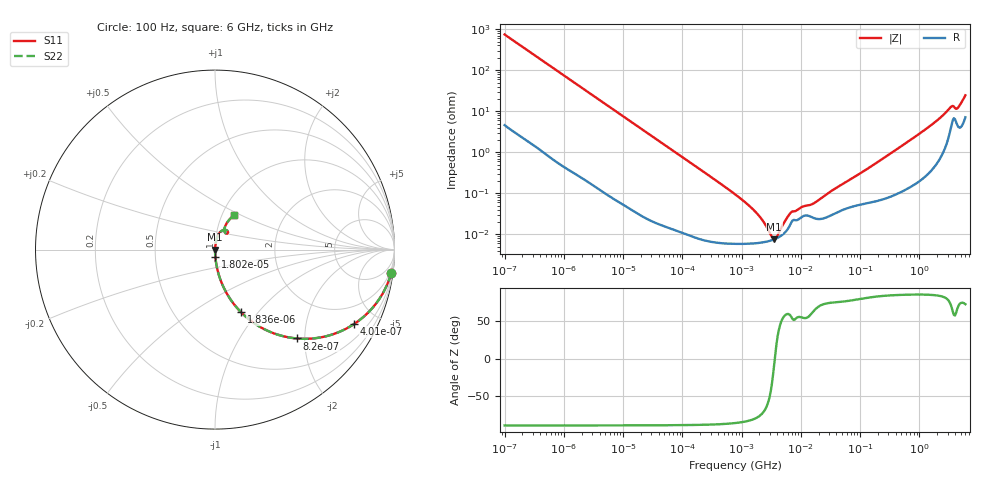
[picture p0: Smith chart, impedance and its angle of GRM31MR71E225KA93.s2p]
!Murata Part Number: GRM31MR71E225KA93
!These Parameters are Measured in Series Mode Connection
!Data Generated on Mar 30, 2021
!  o--ll--o
!Port1  Port2
!  o------o
!Operation Temp=25[degC], DC Bias Voltage=0[V]
!Freq. Start=100[Hz] Stop=6[GHz] 401[Steps]
# Hz S RI R 50
!Freq.(Hz) S11(Real) S11(Imag) S21(Real) S21(Imag) S12(Real) S12(Imag) S22(Real) S22(Imag)
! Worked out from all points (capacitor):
!   401 points, 100 Hz to 6 GHz, reference 50 ohm
!   read as one part in series: C = 2.14 uF near 109 Hz
!   lowest |Z| = 7.59 mohm at 3.55 MHz (marker M1)
!   series resonance near 3.638 MHz, so ESL is about 890 pH
!   S11 on the Smith chart (normalised r, x): 100 Hz: 1, -15; 401 Hz: 1.02, -3.72; 820 Hz: 1.01, -1.82; 1.836 kHz: 1.01, -0.82; 18.02 kHz: 1.00, -0.08; 6 GHz: 1.14, +0.47
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100  0.9814 -0.1322  0.0186 0.1322  0.0186 0.1322  0.9814 -0.1322
224  0.9156 -0.275  0.0844 0.275  0.0844 0.275  0.9156 -0.275
401  0.7747 -0.4148  0.2253 0.4148  0.2253 0.4148  0.7747 -0.4148
820  0.4541 -0.495  0.5459 0.495  0.5459 0.495  0.4541 -0.495
1836  0.1445 -0.3485  0.8555 0.3485  0.8555 0.3485  0.1445 -0.3485
2008  0.124 -0.3264  0.876 0.3264  0.876 0.3264  0.124 -0.3264
5378  0.0201 -0.1371  0.9799 0.1371  0.9799 0.1371  0.0201 -0.1371
18016  0.00207 -0.0419  0.9979 0.0419  0.9979 0.0419  0.00207 -0.0419
40335  0.000529 -0.0188  0.9995 0.0188  0.9995 0.0188  0.000529 -0.0188
774597  5.93e-05 -0.000946  0.9999 0.000946  0.9999 0.000946  5.93e-05 -0.000946
1658239  6.03e-05 -0.000367  0.9999 0.000367  0.9999 0.000367  6.03e-05 -0.000367
2268635  6.36e-05 -0.000208  0.9999 0.000208  0.9999 0.000208  6.36e-05 -0.000208
2967816  6.9e-05 -8.73e-05  0.9999 8.73e-05  0.9999 8.73e-05  6.9e-05 -8.73e-05
3549919  7.52e-05 -1.04e-05  0.9999 1.04e-05  0.9999 1.04e-05  7.52e-05 -1.04e-05
4246196  8.5e-05 6.7e-05  0.9999 -6.7e-05  0.9999 -6.7e-05  8.5e-05 6.7e-05
6948629  0.000197 0.000289  0.9998 -0.000289  0.9998 -0.000289  0.000197 0.000289
1.555665e7  0.000259 0.000477  0.9997 -0.000477  0.9997 -0.000477  0.000259 0.000477
3.124326e8  0.000883 0.00889  0.9991 -0.00889  0.9991 -0.00889  0.000883 0.00889
1.497423e9  0.00505 0.0426  0.995 -0.0426  0.995 -0.0426  0.00505 0.0426
3.352442e9  0.0466 0.1094  0.9534 -0.1094  0.9534 -0.1094  0.0466 0.1094
4.385646e9  0.0539 0.0975  0.9461 -0.0975  0.9461 -0.0975  0.0539 0.0975
6e9  0.1086 0.194  0.8914 -0.194  0.8914 -0.194  0.1086 0.194
